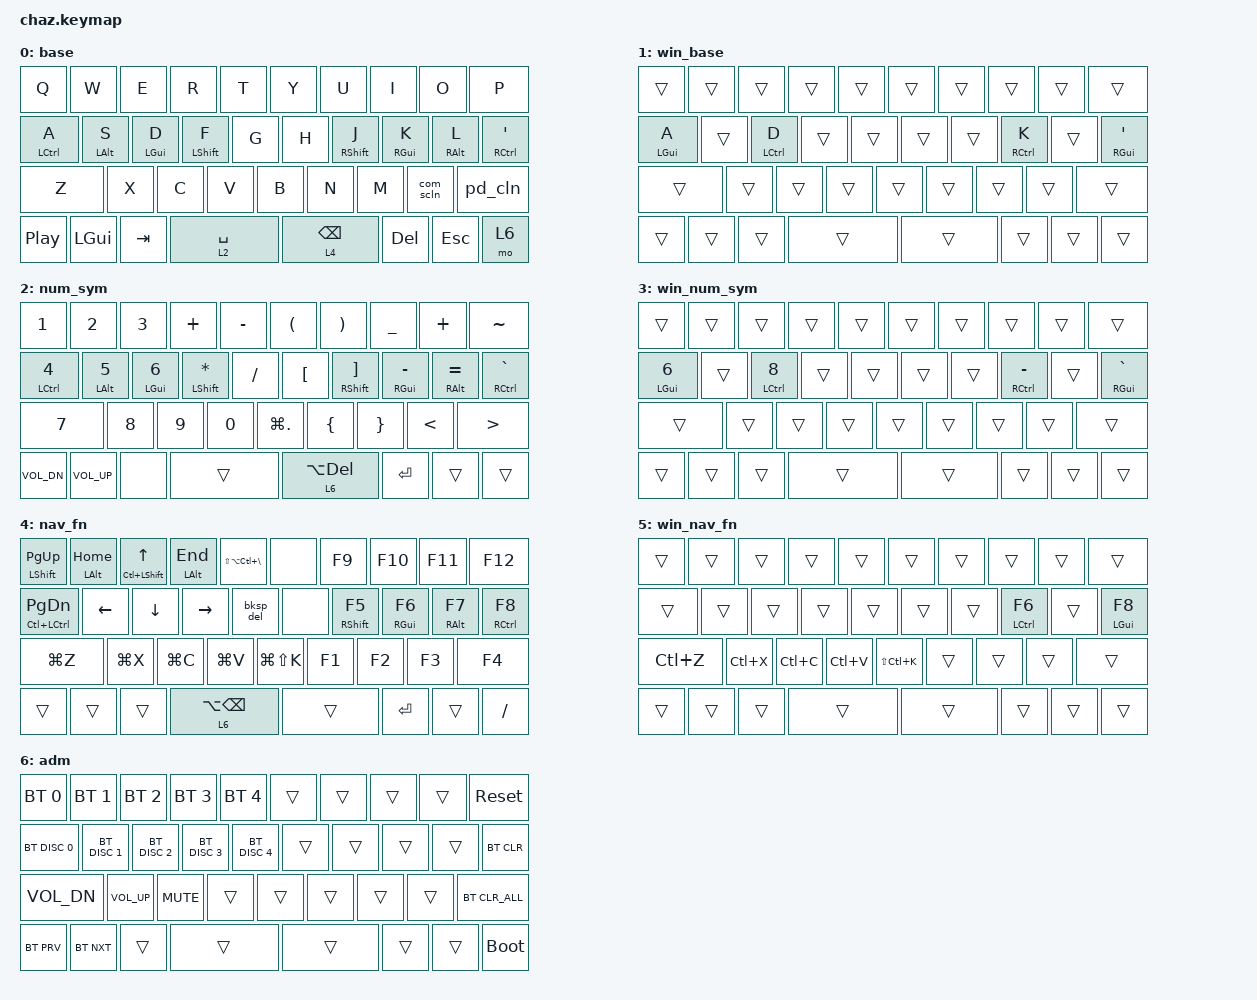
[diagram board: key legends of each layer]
/*
 * Copyright (c) 2020 The ZMK Contributors
 *
 * SPDX-License-Identifier: MIT
 */

#include <behaviors.dtsi>
#include <dt-bindings/zmk/bt.h>
#include <dt-bindings/zmk/keys.h>

&lt {
    quick-tap-ms = <200>;
    flavor = "balanced";
};

&mt { quick-tap-ms = <200>; };

/ {
    behaviors {
        hml: HOMEROW_L_MODS {
            compatible = "zmk,behavior-hold-tap";
            label = "HOMEROW_L_MODS";
            bindings = <&kp>, <&kp>;

            #binding-cells = <2>;
            tapping-term-ms = <200>;
            quick-tap-ms = <200>;
            flavor = "balanced";
            require-prior-idle-ms = <100>;
            hold-trigger-key-positions = <5 6 7 8 9 15 16 17 18 19 25 26 27 28 33 34>;
            hold-while-undecided;
        };

        hsl: HOMEROW_L_SHIFT {
            compatible = "zmk,behavior-hold-tap";
            label = "HOMEROW_L_SHIFT";
            bindings = <&kp>, <&kp>;

            #binding-cells = <2>;
            tapping-term-ms = <200>;
            quick-tap-ms = <200>;
            flavor = "balanced";
            require-prior-idle-ms = <0>;
            hold-trigger-key-positions = <5 15 25 6 16 26 7 8 9 9 17 18 19 27 28 34 33>;
            hold-while-undecided;
        };

        esc: esc {
            compatible = "zmk,behavior-tap-dance";
            label = "ESC";
            #binding-cells = <0>;
            bindings = <&kp Q>, <&kp ESC>;

            tapping-term-ms = <200>;
        };

        tab: tab {
            compatible = "zmk,behavior-tap-dance";
            label = "TAB";
            #binding-cells = <0>;
            bindings = <&mt LCTRL ENTER>, <&kp TAB>;

            tapping-term-ms = <250>;
        };

        com_scln: comma_semicolon {
            compatible = "zmk,behavior-mod-morph";
            label = "COMMA_SEMICOLON";
            bindings = <&kp COMMA>, <&kp SEMICOLON>;

            #binding-cells = <0>;
            mods = <(MOD_LSFT|MOD_RSFT)>;
        };

        pd_cln: period_colon {
            compatible = "zmk,behavior-mod-morph";
            label = "PERIOD_COLON";
            bindings = <&kp PERIOD>, <&kp COLON>;

            #binding-cells = <0>;
            mods = <(MOD_LSFT|MOD_RSFT)>;
        };

        hmr: HOMEROW_R_MODS {
            compatible = "zmk,behavior-hold-tap";
            label = "HOMEROW_R_MODS";
            bindings = <&kp>, <&kp>;

            #binding-cells = <2>;
            tapping-term-ms = <200>;
            quick-tap-ms = <200>;
            flavor = "balanced";
            require-prior-idle-ms = <100>;
            hold-trigger-key-positions = <0 1 2 3 4 10 11 12 13 14 20 21 22 23 24 32 31>;
            hold-while-undecided;
        };

        hsr: HOMEROW_R_SHIFT {
            compatible = "zmk,behavior-hold-tap";
            label = "HOMEROW_R_SHIFT";
            bindings = <&kp>, <&kp>;

            #binding-cells = <2>;
            tapping-term-ms = <200>;
            quick-tap-ms = <200>;
            flavor = "balanced";
            require-prior-idle-ms = <0>;
            hold-trigger-key-positions = <0 1 2 3 4 10 11 12 13 14 20 21 22 23 24 31 32>;
            hold-while-undecided;
        };

        bksp_del: bksp_del {
            compatible = "zmk,behavior-mod-morph";
            label = "BKSP_DEL";
            bindings = <&kp BACKSPACE>, <&kp DELETE>;

            #binding-cells = <0>;
            mods = <(MOD_LSFT)>;
        };
    };

    combos {
        compatible = "zmk,combos";

        left_enter {
            bindings = <&kp ENTER>;
            key-positions = <1 12 22>;
        };

        right_enter {
            bindings = <&kp ENTER>;
            key-positions = <8 17 26>;
        };

        esc {
            bindings = <&kp ESCAPE>;
            key-positions = <0 1>;
        };

        tab {
            bindings = <&kp TAB>;
            key-positions = <3 14>;
        };

        shift_tab {
            bindings = <&kp LS(TAB)>;
            key-positions = <2 13>;
        };

        hold_space {
            bindings = <&kp SPACE>;
            key-positions = <23 32>;
        };

        caps_word {
            bindings = <&caps_word>;
            key-positions = <13 16>;
        };

        toggle_nav {
            bindings = <&tog 2>;
            key-positions = <11 2 13>;
            layers = <0 2>;
            require-prior-idle-ms = <350>;
        };

        jsdoc {
            bindings = <&jsdoc>;
            key-positions = <28 27 26>;
        };

        caps_lock {
            bindings = <&kp CAPSLOCK>;
            key-positions = <13 12 16 17>;
        };

        screen_shot {
            bindings = <&kp LS(LG(N5))>;
            key-positions = <0 11>;
        };

        soft_off {
            bindings = <&soft_off>;
            key-positions = <0 32 9 33>;
        };

        bootloader {
            bindings = <&bootloader>;
            key-positions = <4 14 5 15>;
        };

        bt_clear_all {
            bindings = <&bt BT_CLR_ALL>;
            key-positions = <20 21 28 22 27 26>;
        };

        reset {
            bindings = <&sys_reset>;
            key-positions = <30 31 32 33 34 35>;
        };

        globe {
            bindings = <&kp GLOBE>;
            key-positions = <21 20 22>;
        };

        toggle_win {
            bindings = <&tog 1>;
            key-positions = <0 9>;
        };

        screenshot_win {
            bindings = <&kp LS(LG(S))>;
            key-positions = <0 11>;
            layers = <1>;
        };

        force_quit_mac {
            bindings = <&kp LA(LG(ESCAPE))>;
            key-positions = <0 1 2>;
        };

        mo_6_left {
            bindings = <&mo 6>;
            key-positions = <31 32>;
        };

        mo_6_right {
            bindings = <&mo 6>;
            key-positions = <33 34>;
        };

        studio_unlock {
            bindings = <&studio_unlock>;
            key-positions = <20 21 28 27>;
        };

        slash_question {
            bindings = <&kp SLASH>;
            key-positions = <28 27>;
            layers = <0>;
        };

        bslash_pipe {
            bindings = <&kp BSLH>;
            key-positions = <28 27>;
            layers = <2>;
        };
    };

    macros {
        jsdoc: jsdoc {
            compatible = "zmk,behavior-macro";
            #binding-cells = <0>;
            bindings = <&kp FSLH &kp STAR &kp STAR &kp SPACE>;
            label = "JS_DOC";
        };
    };

    keymap {
        compatible = "zmk,keymap";

        base {
            bindings = <
&kp Q             &kp W         &kp E        &kp R         &kp T            &kp Y       &kp U         &kp I        &kp O        &kp P
&hml LCTRL A      &hml LALT S   &hml LGUI D  &hsl LSHFT F  &kp G            &kp H       &hsr RSHFT J  &hmr RGUI K  &hmr RALT L  &hmr RCTRL SQT
&kp Z             &kp X         &kp C        &kp V         &kp B            &kp N       &kp M         &com_scln    &pd_cln
&kp C_PLAY_PAUSE  &kp LEFT_GUI  &kp TAB      &lt 2 SPACE   &lt 4 BACKSPACE  &kp DELETE  &kp ESCAPE    &mo 6
            >;
        };

        win_base {
            bindings = <
&trans       &trans  &trans        &trans  &trans  &trans  &trans  &trans        &trans  &trans
&hml LGUI A  &trans  &hml LCTRL D  &trans  &trans  &trans  &trans  &hmr RCTRL K  &trans  &hmr RGUI SQT
&trans       &trans  &trans        &trans  &trans  &trans  &trans  &trans        &trans
&trans       &trans  &trans        &trans  &trans  &trans  &trans  &trans
            >;
        };

        num_sym {
            bindings = <
&kp N1               &kp N2            &kp N3              &kp PLUS              &kp MINUS         &kp LEFT_PARENTHESIS  &kp RIGHT_PARENTHESIS           &kp UNDER        &kp PLUS              &kp TILDE
&hml LCTRL NUMBER_4  &hml LEFT_ALT N5  &hml LGUI NUMBER_6  &hsl LEFT_SHIFT STAR  &kp SLASH         &kp LEFT_BRACKET      &hsr RIGHT_SHIFT RIGHT_BRACKET  &hmr RGUI MINUS  &hmr RIGHT_ALT EQUAL  &hmr RCTRL GRAVE
&kp N7               &kp N8            &kp N9              &kp N0                &kp LG(DOT)       &kp LEFT_BRACE        &kp RIGHT_BRACE                 &kp LESS_THAN    &kp GREATER_THAN
&kp C_VOL_DN         &kp C_VOL_UP      &none               &trans                &lt 6 LA(DELETE)  &kp RET               &trans                          &trans
            >;
        };

        win_num_sym {
            bindings = <
&trans              &trans  &trans         &trans  &trans  &trans  &trans  &trans            &trans  &trans
&hml LGUI NUMBER_6  &trans  &hml LCTRL N8  &trans  &trans  &trans  &trans  &hmr RCTRL MINUS  &trans  &hmr RGUI GRAVE
&trans              &trans  &trans         &trans  &trans  &trans  &trans  &trans            &trans
&trans              &trans  &trans         &trans  &trans  &trans  &trans  &trans
            >;
        };

        nav_fn {
            bindings = <
&mt LSHIFT PG_UP            &mt LEFT_ALT HOME  &mt LC(LSHIFT) UP_ARROW  &mt LEFT_ALT END     &kp LS(LA(LC(BACKSLASH)))  &none    &kp F9         &kp F10       &kp F11            &kp F12
&mt LC(LEFT_CONTROL) PG_DN  &kp LEFT_ARROW     &kp DOWN_ARROW           &kp RIGHT_ARROW      &bksp_del                  &none    &hsr RSHFT F5  &hmr RGUI F6  &hmr RIGHT_ALT F7  &hmr RCTRL F8
&kp LG(Z)                   &kp LG(X)          &kp LG(C)                &kp LG(V)            &kp LG(LS(K))              &kp F1   &kp F2         &kp F3        &kp F4
&trans                      &trans             &trans                   &lt 6 LA(BACKSPACE)  &trans                     &kp RET  &trans         &kp FSLH
            >;
        };

        win_nav_fn {
            bindings = <
&trans     &trans     &trans     &trans     &trans         &trans  &trans  &trans         &trans  &trans
&trans     &trans     &trans     &trans     &trans         &trans  &trans  &hmr LCTRL F6  &trans  &hmr LGUI F8
&kp LC(Z)  &kp LC(X)  &kp LC(C)  &kp LC(V)  &kp LS(LC(K))  &trans  &trans  &trans         &trans
&trans     &trans     &trans     &trans     &trans         &trans  &trans  &trans
            >;
        };

        Admin {
            bindings = <
&bt BT_SEL 0   &bt BT_SEL 1   &bt BT_SEL 2   &bt BT_SEL 3   &bt BT_SEL 4   &trans  &trans  &trans       &trans          &sys_reset
&bt BT_DISC 0  &bt BT_DISC 1  &bt BT_DISC 2  &bt BT_DISC 3  &bt BT_DISC 4  &trans  &trans  &trans       &trans          &bt BT_CLR
&kp C_VOL_DN   &kp C_VOL_UP   &kp K_MUTE     &trans         &trans         &trans  &trans  &trans       &bt BT_CLR_ALL
&bt BT_PRV     &bt BT_NXT     &trans         &trans         &trans         &trans  &trans  &bootloader
            >;

            label = "adm";
        };
    };

    conditional_layers {
        compatible = "zmk,conditional-layers";

        num_sym_win {
            if-layers = <1 2>;
            then-layer = <3>;
        };

        nav_func_win {
            if-layers = <1 4>;
            then-layer = <5>;
        };
    };
};
